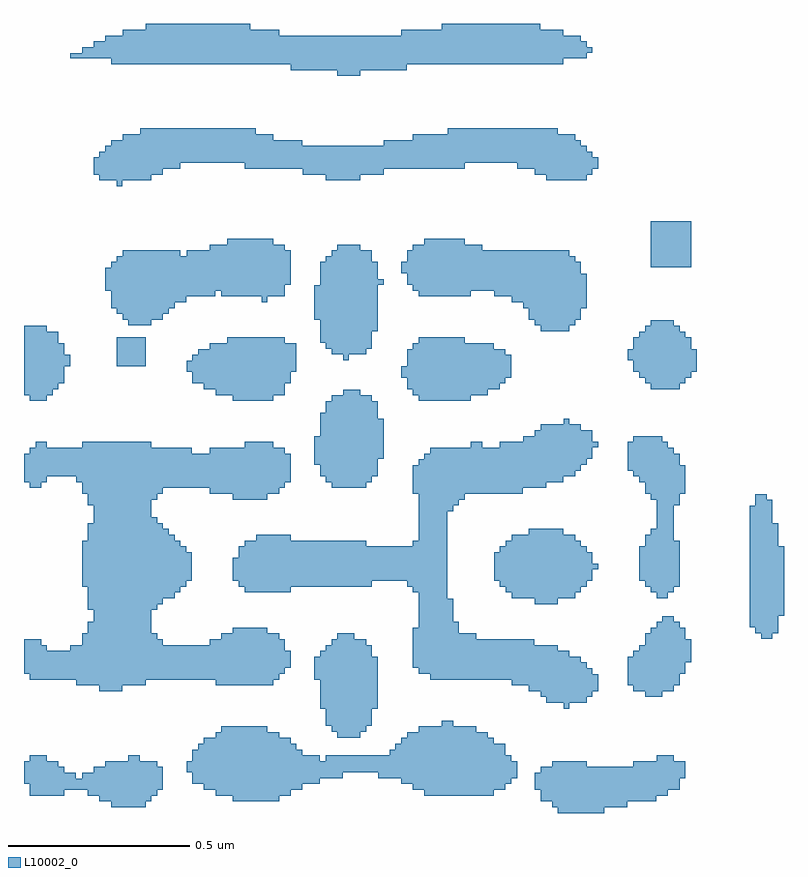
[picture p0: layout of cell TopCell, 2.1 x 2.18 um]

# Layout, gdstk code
import gdstk
lib = gdstk.Library(unit=1e-6, precision=1e-09)
def R(c, l, rs):  # rectangles x0, y0, x1, y1
    for r in rs: c.add(gdstk.rectangle(r[:2], r[2:], *l))
L10002_0 = (10002, 0)

topcell = lib.new_cell('TopCell')
R(topcell, L10002_0, [(2.496,1.104,2.623,1.12), (1.264,1.12,1.359,1.136), (2.48,1.12,2.687,1.136), (1.232,1.136,1.375,1.152), (1.6,1.136,1.727,1.152), (2.448,1.136,2.767,1.168), (1.04,1.152,1.135,1.184), (1.2,1.152,1.391,1.168), (1.552,1.152,1.759,1.168), (2.128,1.152,2.319,1.168), (2.767,1.152,2.799,1.168), (1.135,1.168,1.407,1.184), (1.52,1.168,1.791,1.184), (2.096,1.168,2.351,1.184), (2.432,1.168,2.831,1.215), (1.024,1.184,1.407,1.199), (1.488,1.184,1.839,1.216), (2.064,1.184,2.367,1.2), (1.024,1.199,1.167,1.215), (1.184,1.199,1.407,1.215), (1.839,1.2,1.903,1.216), (2,1.2,2.383,1.216), (2.831,1.2,2.847,1.215), (1.024,1.215,1.135,1.231), (1.216,1.215,1.407,1.231), (2.448,1.215,2.847,1.231), (1.472,1.216,2.383,1.247), (1.024,1.231,1.119,1.247), (1.248,1.231,1.391,1.247), (2.48,1.231,2.575,1.247), (2.704,1.231,2.847,1.247), (1.04,1.247,1.087,1.263), (1.312,1.247,1.343,1.263), (1.488,1.247,1.839,1.263), (1.856,1.247,2.367,1.263), (2.768,1.247,2.815,1.263), (1.488,1.263,1.791,1.279), (2.032,1.263,2.351,1.279), (1.504,1.279,1.775,1.295), (2.048,1.279,2.351,1.295), (1.52,1.295,1.759,1.311), (2.064,1.295,2.319,1.311), (1.552,1.311,1.727,1.327), (2.08,1.311,2.303,1.327), (1.888,1.312,1.951,1.328), (1.568,1.327,1.695,1.343), (2.112,1.327,2.271,1.343), (1.872,1.328,1.967,1.344), (2.176,1.343,2.207,1.359), (1.856,1.344,1.983,1.392), (1.84,1.392,1.999,1.472), (2.512,1.392,2.527,1.408), (2.464,1.408,2.575,1.424), (2.448,1.424,2.591,1.44), (2.736,1.424,2.783,1.44), (1.232,1.44,1.295,1.456), (2.416,1.44,2.607,1.456), (2.704,1.44,2.815,1.456), (1.168,1.456,1.359,1.472), (1.552,1.456,1.711,1.472), (2.368,1.456,2.607,1.472), (2.688,1.456,2.831,1.535), (1.04,1.472,1.727,1.488), (1.824,1.472,1.999,1.535), (2.144,1.472,2.607,1.487), (2.144,1.487,2.591,1.488), (1.024,1.488,1.743,1.551), (2.112,1.488,2.591,1.503), (2.831,1.488,2.847,1.535), (2.112,1.503,2.575,1.504), (1.743,1.504,1.759,1.551), (2.096,1.504,2.575,1.519), (2.096,1.519,2.559,1.535), (2.847,1.52,2.863,1.535), (1.84,1.535,1.983,1.551), (2.096,1.535,2.527,1.551), (2.704,1.535,2.863,1.551), (1.024,1.551,1.087,1.567), (1.152,1.551,1.743,1.567), (1.856,1.551,1.983,1.567), (2.096,1.551,2.495,1.567), (2.72,1.551,2.863,1.567), (1.024,1.567,1.071,1.583), (1.184,1.567,1.407,1.583), (1.536,1.567,1.743,1.583), (1.872,1.567,1.967,1.583), (2.096,1.567,2.431,1.583), (2.736,1.567,2.863,1.583), (1.184,1.583,1.391,1.599), (1.568,1.583,1.727,1.599), (1.888,1.583,1.935,1.599), (2.096,1.583,2.271,1.599), (2.736,1.583,2.847,1.599), (3.056,1.584,3.087,1.6), (1.2,1.599,1.375,1.631), (1.6,1.599,1.695,1.615), (2.096,1.599,2.223,1.615), (2.752,1.599,2.847,1.615), (3.04,1.6,3.103,1.616), (2.112,1.615,2.223,1.631), (2.768,1.615,2.831,1.631), (3.024,1.616,3.103,1.903), (1.216,1.631,1.375,1.664), (2.112,1.631,2.207,1.695), (2.784,1.631,2.815,1.647), (3.103,1.648,3.119,1.839), (1.2,1.664,1.391,1.728), (1.391,1.68,1.407,1.728), (2.432,1.68,2.495,1.696), (2.112,1.695,2.191,1.712), (1.407,1.696,1.439,1.728), (2.368,1.696,2.543,1.712), (2.768,1.696,2.799,1.712), (1.439,1.712,1.455,1.728), (1.632,1.712,1.759,1.728), (2.096,1.712,2.191,1.728), (2.352,1.712,2.559,1.728), (2.752,1.712,2.815,1.728), (1.184,1.728,1.471,1.839), (1.616,1.728,1.983,1.744), (2.08,1.728,2.191,1.744), (2.336,1.728,2.575,1.744), (2.736,1.728,2.831,1.744), (1.471,1.744,1.487,1.823), (1.6,1.744,2.191,1.807), (2.32,1.744,2.591,1.823), (2.72,1.744,2.831,1.839), (2.591,1.776,2.607,1.791), (1.616,1.807,2.191,1.839), (2.336,1.823,2.575,1.839), (1.184,1.839,1.455,1.855), (1.632,1.839,1.967,1.855), (2.096,1.839,2.191,1.855), (2.352,1.839,2.559,1.855), (2.736,1.839,2.831,1.855), (1.2,1.855,1.439,1.871), (1.664,1.855,1.759,1.871), (2.112,1.855,2.191,1.984), (2.368,1.855,2.543,1.871), (2.736,1.855,2.815,1.871), (1.2,1.871,1.423,1.887), (2.416,1.871,2.511,1.887), (2.752,1.871,2.815,1.887), (1.2,1.887,1.407,1.903), (2.768,1.887,2.815,1.968), (1.216,1.903,1.391,1.919), (3.024,1.903,3.087,1.951), (1.216,1.919,1.375,1.952), (2.191,1.936,2.207,1.984), (3.04,1.951,3.087,1.967), (1.2,1.952,1.375,1.984), (2.207,1.952,2.223,1.984), (2.815,1.952,2.831,1.968), (3.04,1.967,3.071,1.983), (1.375,1.968,1.391,1.984), (1.6,1.968,1.695,1.984), (2.223,1.968,2.239,1.984), (2.752,1.968,2.831,1.984), (1.184,1.984,1.407,2.016), (1.536,1.984,1.727,2), (2.096,1.984,2.399,2.063), (2.736,1.984,2.847,2.016), (1.04,2,1.071,2.016), (1.407,2,1.743,2.016), (1.872,2,1.967,2.016), (2.399,2,2.463,2.063), (1.024,2.016,1.087,2.095), (1.168,2.016,1.759,2.032), (1.856,2.016,1.983,2.032), (2.463,2.016,2.511,2.063), (2.72,2.016,2.847,2.032), (1.087,2.032,1.759,2.095), (1.84,2.032,1.999,2.064), (2.511,2.032,2.543,2.063), (2.704,2.032,2.847,2.048), (2.543,2.048,2.559,2.063), (2.688,2.048,2.847,2.063), (2.112,2.063,2.559,2.079), (2.688,2.063,2.831,2.095), (1.824,2.064,1.999,2.143), (2.559,2.064,2.575,2.079), (2.128,2.079,2.575,2.095), (1.999,2.08,2.015,2.143), (2.575,2.08,2.591,2.095), (1.04,2.095,1.487,2.111), (1.536,2.095,1.743,2.111), (2.144,2.095,2.591,2.111), (2.688,2.095,2.815,2.111), (1.056,2.111,1.087,2.127), (1.184,2.111,1.375,2.127), (1.632,2.111,1.711,2.127), (2.256,2.111,2.287,2.127), (2.336,2.111,2.591,2.127), (2.688,2.111,2.799,2.127), (2.591,2.112,2.607,2.127), (2.4,2.127,2.591,2.143), (2.704,2.127,2.783,2.143), (1.84,2.143,2.015,2.191), (2.432,2.143,2.591,2.159), (2.448,2.159,2.559,2.175), (2.512,2.175,2.527,2.191), (1.84,2.191,1.999,2.207), (1.856,2.207,1.999,2.239), (1.872,2.239,1.983,2.255), (1.04,2.24,1.087,2.256), (1.6,2.24,1.711,2.256), (2.112,2.24,2.255,2.256), (1.904,2.255,1.951,2.271), (1.024,2.256,1.103,2.431), (1.552,2.256,1.743,2.272), (2.096,2.256,2.303,2.272), (1.103,2.272,1.119,2.431), (1.52,2.272,1.743,2.288), (2.08,2.272,2.335,2.304), (2.752,2.272,2.831,2.288), (1.119,2.288,1.135,2.399), (1.488,2.288,1.759,2.32), (2.335,2.288,2.351,2.304), (2.736,2.288,2.847,2.304), (2.064,2.304,2.367,2.335), (2.72,2.304,2.863,2.32), (1.472,2.32,1.775,2.351), (2.704,2.32,2.879,2.352), (2.08,2.335,2.367,2.367), (1.135,2.336,1.151,2.367), (1.28,2.336,1.359,2.415), (1.488,2.351,1.775,2.367), (1.904,2.352,1.919,2.368), (2.688,2.352,2.879,2.383), (1.504,2.367,1.775,2.383), (2.08,2.367,2.351,2.383), (1.872,2.368,1.967,2.384), (1.536,2.383,1.775,2.399), (2.096,2.383,2.319,2.399), (2.704,2.383,2.863,2.415), (1.856,2.384,1.983,2.4), (1.584,2.399,1.743,2.415), (2.112,2.399,2.239,2.415), (1.84,2.4,1.983,2.464), (2.72,2.415,2.847,2.431), (1.024,2.431,1.087,2.447), (2.736,2.431,2.831,2.447), (1.983,2.432,1.999,2.464), (2.448,2.432,2.527,2.448), (2.752,2.447,2.815,2.463), (1.312,2.448,1.375,2.464), (2.432,2.448,2.543,2.464), (1.296,2.464,1.407,2.48), (1.824,2.464,1.999,2.559), (2.416,2.464,2.559,2.496), (1.28,2.48,1.423,2.496), (1.264,2.496,1.439,2.544), (2.4,2.496,2.575,2.512), (1.439,2.512,1.471,2.544), (1.68,2.512,1.695,2.528), (2.368,2.512,2.575,2.528), (1.471,2.528,1.551,2.544), (1.568,2.528,1.743,2.544), (2.112,2.528,2.255,2.544), (2.32,2.528,2.575,2.544), (1.248,2.544,1.743,2.607), (2.096,2.544,2.575,2.56), (1.84,2.559,1.999,2.623), (1.743,2.56,1.759,2.607), (1.999,2.56,2.015,2.575), (2.08,2.56,2.575,2.591), (2.08,2.591,2.559,2.592), (2.064,2.592,2.559,2.623), (1.264,2.607,1.759,2.623), (2.752,2.608,2.863,2.735), (1.28,2.623,1.759,2.639), (1.856,2.623,1.983,2.639), (2.08,2.623,2.543,2.639), (1.296,2.639,1.455,2.655), (1.472,2.639,1.759,2.655), (1.872,2.639,1.983,2.655), (2.08,2.639,2.527,2.655), (1.536,2.655,1.743,2.671), (1.888,2.655,1.951,2.671), (2.096,2.655,2.287,2.671), (1.584,2.671,1.711,2.687), (2.128,2.671,2.239,2.687), (1.28,2.832,1.295,2.848), (1.232,2.848,1.375,2.864), (1.856,2.848,1.951,2.864), (2.464,2.848,2.575,2.864), (1.216,2.864,1.407,2.911), (1.792,2.864,2.015,2.88), (2.432,2.864,2.591,2.88), (1.407,2.88,1.455,2.911), (1.632,2.88,2.239,2.896), (2.384,2.88,2.607,2.896), (1.455,2.896,2.607,2.911), (1.232,2.911,2.591,2.927), (1.248,2.927,2.575,2.943), (1.264,2.943,1.791,2.959), (2.016,2.943,2.559,2.959), (1.296,2.959,1.711,2.975), (2.096,2.959,2.543,2.975), (1.344,2.975,1.663,2.991), (2.192,2.975,2.495,2.991), (1.888,3.136,1.951,3.152), (1.76,3.152,2.079,3.168), (1.264,3.168,2.511,3.184), (1.152,3.184,2.575,3.199), (1.184,3.199,2.575,3.215), (2.575,3.2,2.591,3.215), (1.216,3.215,2.575,3.231), (1.248,3.231,2.559,3.247), (1.296,3.247,1.727,3.263), (2.064,3.247,2.511,3.263), (1.36,3.263,1.647,3.279), (2.176,3.263,2.447,3.279)])

lib.write_gds('TopCell.gds')
